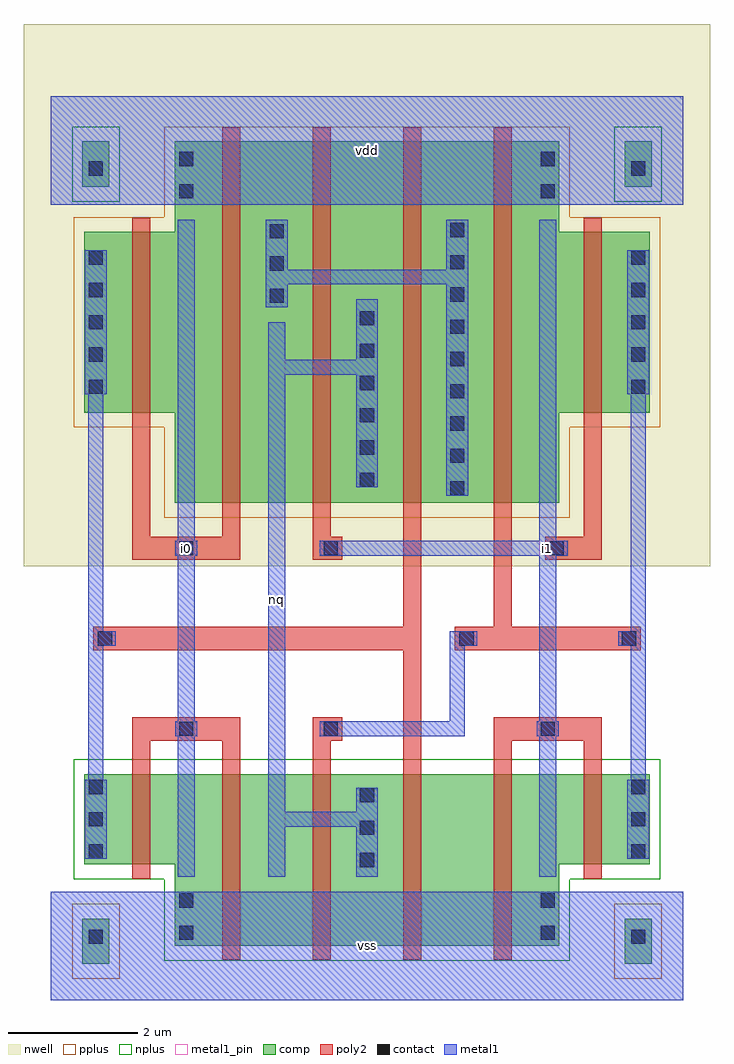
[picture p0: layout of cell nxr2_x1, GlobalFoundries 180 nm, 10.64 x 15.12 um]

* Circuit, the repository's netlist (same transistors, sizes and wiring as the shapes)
* nxr2_x1
.subckt nxr2_x1 nq vdd vss i0 i1
Mp_net0_1 nq _net0 _net1 vdd pfet_03v3 l=0.28um w=5.6um
Mn_net0_1 nq _net0 _net2 vss nfet_03v3 l=0.28um w=2.66um
Mn_net3_1 _net4 _net3 nq vss nfet_03v3 l=0.28um w=2.66um
Mp_net3_1 _net1 _net3 vdd vdd pfet_03v3 l=0.28um w=5.6um
Mp_i0_1 _net0 i0 vdd vdd pfet_03v3 l=0.28um w=2.8um
Mn_i0_2 vss i0 _net4 vss nfet_03v3 l=0.28um w=2.66um
Mp_i0_2 vdd i0 _net1 vdd pfet_03v3 l=0.28um w=5.6um
Mn_i0_1 _net0 i0 vss vss nfet_03v3 l=0.28um w=1.4um
Mp_i1_1 _net1 i1 nq vdd pfet_03v3 l=0.28um w=5.6um
Mn_i1_1 _net2 i1 vss vss nfet_03v3 l=0.28um w=2.66um
Mp_i1_2 vdd i1 _net3 vdd pfet_03v3 l=0.28um w=2.8um
Mn_i1_2 vss i1 _net3 vss nfet_03v3 l=0.28um w=1.4um
.ends nxr2_x1

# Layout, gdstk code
import gdstk
lib = gdstk.Library(unit=1e-6, precision=1e-09)
def R(c, l, rs):  # rectangles x0, y0, x1, y1
    for r in rs: c.add(gdstk.rectangle(r[:2], r[2:], *l))
def A(c, l, x, y, w, h, nx, ny, dx, dy):  # array of equal rectangles
    R(c, l, [(x+i*dx, y+j*dy, x+i*dx+w, y+j*dy+h) for i in range(nx) for j in range(ny)])
def P(c, l, *ps):  # polygons
    for p in ps: c.add(gdstk.Polygon(p, *l))
nwell = (21, 0)
comp = (22, 0)
poly2 = (30, 0)
pplus = (31, 0)
nplus = (32, 0)
contact = (33, 0)
metal1 = (34, 0)
metal1_pin = (34, 10)

nxr2_x1 = lib.new_cell('nxr2_x1')
R(nxr2_x1, nwell, [(-0.42,6.72,10.22,15.12)])
R(nxr2_x1, comp, [(0.49,0.56,0.91,1.26), (8.89,0.56,9.31,1.26), (0.49,12.6,0.91,13.3), (8.89,12.6,9.31,13.3)])
P(nxr2_x1, comp, [(1.92,0.84),(1.92,2.1),(0.52,2.1),(0.52,3.5),(9.28,3.5),(9.28,2.1),(7.88,2.1),(7.88,0.84)],
  [(1.92,7.7),(1.92,9.1),(0.52,9.1),(0.52,11.9),(1.92,11.9),(1.92,13.3),(7.88,13.3),(7.88,11.9),(9.28,11.9),(9.28,9.1),(7.88,9.1),(7.88,7.7)])
P(nxr2_x1, poly2, [(5.46,0.62),(5.46,5.42),(0.66,5.42),(0.66,5.78),(5.46,5.78),(5.46,13.52),(5.74,13.52),(5.74,0.62)],
  [(4.06,0.62),(4.06,4.38),(4.52,4.38),(4.52,4.02),(4.34,4.02),(4.34,0.62)],
  [(6.26,5.42),(6.26,5.78),(6.86,5.78),(6.86,13.52),(7.14,13.52),(7.14,5.78),(9.14,5.78),(9.14,5.42)],
  [(1.26,6.82),(1.26,12.12),(1.54,12.12),(1.54,7.18),(2.66,7.18),(2.66,13.52),(2.94,13.52),(2.94,6.82)],
  [(2.66,0.62),(2.66,4.02),(1.54,4.02),(1.54,1.88),(1.26,1.88),(1.26,4.38),(2.94,4.38),(2.94,0.62)],
  [(7.66,6.82),(7.66,7.18),(8.26,7.18),(8.26,12.12),(8.54,12.12),(8.54,6.82)],
  [(4.06,6.82),(4.06,13.52),(4.34,13.52),(4.34,7.18),(4.52,7.18),(4.52,6.82)],
  [(6.86,0.62),(6.86,4.38),(8.54,4.38),(8.54,1.88),(8.26,1.88),(8.26,4.02),(7.14,4.02),(7.14,0.62)])
R(nxr2_x1, pplus, [(0.33,0.33,1.07,1.49), (8.73,0.33,9.47,1.49)])
P(nxr2_x1, pplus, [(1.76,7.47),(1.76,8.87),(0.36,8.87),(0.36,12.13),(1.76,12.13),(1.76,13.53),(8.04,13.53),(8.04,12.13),(9.44,12.13),(9.44,8.87),(8.04,8.87),(8.04,7.47)])
R(nxr2_x1, nplus, [(0.33,12.37,1.07,13.53), (8.73,12.37,9.47,13.53)])
P(nxr2_x1, nplus, [(1.76,0.61),(1.76,1.87),(0.36,1.87),(0.36,3.73),(9.44,3.73),(9.44,1.87),(8.04,1.87),(8.04,0.61)])
A(nxr2_x1, contact, 4.79, 2.06, 0.22, 0.22, 1, 3, 0, 0.5)
A(nxr2_x1, contact, 0.59, 2.19, 0.22, 0.22, 1, 3, 0, 0.5)
A(nxr2_x1, contact, 8.99, 2.19, 0.22, 0.22, 1, 3, 0, 0.5)
A(nxr2_x1, contact, 6.19, 7.82, 0.22, 0.22, 1, 9, 0, 0.5)
A(nxr2_x1, contact, 4.79, 7.95, 0.22, 0.22, 1, 6, 0, 0.5)
A(nxr2_x1, contact, 0.59, 9.39, 0.22, 0.22, 1, 5, 0, 0.5)
A(nxr2_x1, contact, 8.99, 9.39, 0.22, 0.22, 1, 5, 0, 0.5)
A(nxr2_x1, contact, 3.39, 10.8, 0.22, 0.22, 1, 3, 0, 0.5)
R(nxr2_x1, contact, [(0.59,0.87,0.81,1.09), (8.99,0.87,9.21,1.09), (1.99,0.93,2.21,1.15), (7.59,0.93,7.81,1.15), (1.99,1.43,2.21,1.65), (7.59,1.43,7.81,1.65), (1.99,4.09,2.21,4.31), (4.23,4.09,4.45,4.31), (7.59,4.09,7.81,4.31), (0.73,5.49,0.95,5.71), (6.33,5.49,6.55,5.71), (8.85,5.49,9.07,5.71), (1.99,6.89,2.21,7.11), (4.23,6.89,4.45,7.11), (7.73,6.89,7.95,7.11), (1.99,12.42,2.21,12.64), (7.59,12.42,7.81,12.64), (0.59,12.77,0.81,12.99), (8.99,12.77,9.21,12.99), (1.99,12.92,2.21,13.14), (7.59,12.92,7.81,13.14)])
R(nxr2_x1, metal1, [(0,0,9.8,1.68), (0,12.32,9.8,14)])
P(nxr2_x1, metal1, [(3.37,1.91),(3.37,10.5),(3.63,10.5),(3.63,9.915),(4.73,9.915),(4.73,10.855),(5.07,10.855),(5.07,7.945),(4.73,7.945),(4.73,9.685),(3.63,9.685),(3.63,2.915),(4.73,2.915),(4.73,3.285),(5.07,3.285),(5.07,1.91),(4.73,1.91),(4.73,2.685),(3.63,2.685),(3.63,1.91)],
  [(6.13,7.815),(6.13,11.085),(3.67,11.085),(3.67,10.73),(3.33,10.73),(3.33,12.09),(3.67,12.09),(3.67,11.315),(6.13,11.315),(6.13,12.09),(6.47,12.09),(6.47,7.815)],
  [(0.53,2.185),(0.53,3.415),(0.585,3.415),(0.585,9.385),(0.53,9.385),(0.53,11.615),(0.87,11.615),(0.87,9.385),(0.815,9.385),(0.815,5.715),(1.01,5.715),(1.01,5.485),(0.815,5.485),(0.815,3.415),(0.87,3.415),(0.87,2.185)],
  [(4.17,4.085),(4.17,4.315),(6.185,4.315),(6.185,5.715),(6.61,5.715),(6.61,5.485),(6.415,5.485),(6.415,4.085)],
  [(8.93,2.185),(8.93,3.415),(8.985,3.415),(8.985,5.485),(8.79,5.485),(8.79,5.715),(8.985,5.715),(8.985,9.385),(8.93,9.385),(8.93,11.615),(9.27,11.615),(9.27,9.385),(9.215,9.385),(9.215,3.415),(9.27,3.415),(9.27,2.185)],
  [(1.97,1.91),(1.97,4.085),(1.93,4.085),(1.93,4.315),(1.97,4.315),(1.97,6.885),(1.93,6.885),(1.93,7.115),(1.97,7.115),(1.97,12.09),(2.23,12.09),(2.23,7.115),(2.27,7.115),(2.27,6.885),(2.23,6.885),(2.23,4.315),(2.27,4.315),(2.27,4.085),(2.23,4.085),(2.23,1.91)],
  [(7.57,1.91),(7.57,4.085),(7.53,4.085),(7.53,4.315),(7.57,4.315),(7.57,6.885),(4.17,6.885),(4.17,7.115),(7.57,7.115),(7.57,12.09),(7.83,12.09),(7.83,7.115),(8.01,7.115),(8.01,6.885),(7.83,6.885),(7.83,4.315),(7.87,4.315),(7.87,4.085),(7.83,4.085),(7.83,1.91)])
R(nxr2_x1, metal1_pin, [(0,0,9.8,1.68), (1.97,1.91,2.23,12.09), (3.37,1.91,3.63,10.5), (7.57,1.91,7.83,12.09), (0,12.32,9.8,14)])
nxr2_x1.add(gdstk.Label('nq', (3.5,6.205), layer=34, texttype=10))
nxr2_x1.add(gdstk.Label('vdd', (4.9,13.16), layer=34, texttype=10))
nxr2_x1.add(gdstk.Label('vss', (4.9,0.84), layer=34, texttype=10))
nxr2_x1.add(gdstk.Label('i0', (2.1,7), layer=34, texttype=10))
nxr2_x1.add(gdstk.Label('i1', (7.7,7), layer=34, texttype=10))

lib.write_gds('nxr2_x1.gds')
